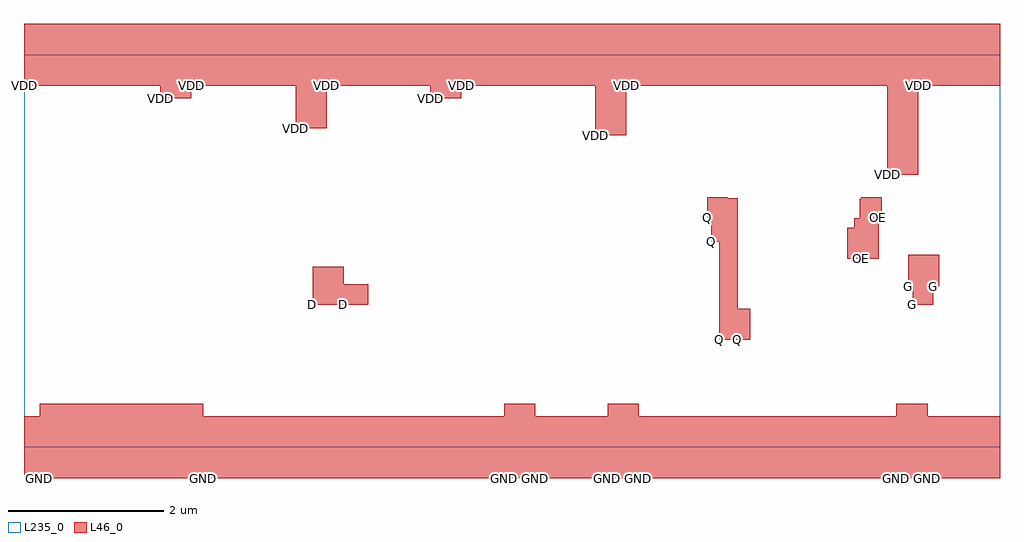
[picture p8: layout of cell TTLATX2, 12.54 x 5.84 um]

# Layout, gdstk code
import gdstk
lib = gdstk.Library(unit=1e-6, precision=1e-09)
def R(c, l, rs):  # rectangles x0, y0, x1, y1
    for r in rs: c.add(gdstk.rectangle(r[:2], r[2:], *l))
L46_0 = (46, 0)
L235_0 = (235, 0)

ttlatx2 = lib.new_cell('TTLATX2')
R(ttlatx2, L46_0, [(0,-0.4,0.2,0.4), (0.2,-0.4,2.3,0.56), (2.3,-0.4,6.17,0.4), (6.17,-0.4,6.57,0.56), (6.57,-0.4,7.5,0.4), (7.5,-0.4,7.9,0.56), (7.9,-0.4,11.21,0.4), (11.21,-0.4,11.61,0.56), (11.61,-0.4,12.54,0.4), (8.93,1.38,9.04,3.21), (9.04,1.38,9.17,3.2), (9.17,1.38,9.33,1.78), (3.71,1.83,4.11,2.32), (4.11,1.83,4.42,2.09), (11.42,1.83,11.68,2.47), (11.36,2.07,11.42,2.47), (11.68,2.07,11.76,2.47), (10.58,2.42,10.67,2.82), (10.67,2.42,10.74,2.94), (10.74,2.42,10.76,3.19), (10.76,2.42,10.98,3.21), (8.83,2.64,8.93,3.21), (8.78,2.95,8.83,3.21), (10.98,2.95,11.02,3.21), (11.09,3.5,11.49,5.44), (7.34,4.01,7.74,5.44), (3.49,4.1,3.89,5.44), (1.75,4.48,2.15,5.44), (5.22,4.48,5.62,5.44), (0,4.64,1.75,5.44), (2.15,4.64,3.49,5.44), (3.89,4.64,5.22,5.44), (5.62,4.64,7.34,5.44), (7.74,4.64,11.09,5.44), (11.49,4.64,12.54,5.44)])
R(ttlatx2, L235_0, [(0,0,12.54,5.04)])
ttlatx2.add(gdstk.Label('Q', (9.17,1.38), layer=101, texttype=0))
ttlatx2.add(gdstk.Label('Q', (9.04,1.38), layer=101, texttype=0))
ttlatx2.add(gdstk.Label('Q', (8.93,1.38), layer=101, texttype=0))
ttlatx2.add(gdstk.Label('Q', (8.83,2.64), layer=101, texttype=0))
ttlatx2.add(gdstk.Label('Q', (8.78,2.95), layer=101, texttype=0))
ttlatx2.add(gdstk.Label('OE', (10.98,2.95), layer=101, texttype=0))
ttlatx2.add(gdstk.Label('OE', (10.76,2.42), layer=101, texttype=0))
ttlatx2.add(gdstk.Label('OE', (10.74,2.42), layer=101, texttype=0))
ttlatx2.add(gdstk.Label('OE', (10.67,2.42), layer=101, texttype=0))
ttlatx2.add(gdstk.Label('OE', (10.58,2.42), layer=101, texttype=0))
ttlatx2.add(gdstk.Label('G', (11.68,2.07), layer=101, texttype=0))
ttlatx2.add(gdstk.Label('G', (11.42,1.83), layer=101, texttype=0))
ttlatx2.add(gdstk.Label('G', (11.36,2.07), layer=101, texttype=0))
ttlatx2.add(gdstk.Label('D', (4.11,1.83), layer=101, texttype=0))
ttlatx2.add(gdstk.Label('D', (3.71,1.83), layer=101, texttype=0))
ttlatx2.add(gdstk.Label('VDD', (11.49,4.64), layer=101, texttype=0))
ttlatx2.add(gdstk.Label('VDD', (11.09,3.5), layer=101, texttype=0))
ttlatx2.add(gdstk.Label('VDD', (7.74,4.64), layer=101, texttype=0))
ttlatx2.add(gdstk.Label('VDD', (7.34,4.01), layer=101, texttype=0))
ttlatx2.add(gdstk.Label('VDD', (5.62,4.64), layer=101, texttype=0))
ttlatx2.add(gdstk.Label('VDD', (5.22,4.48), layer=101, texttype=0))
ttlatx2.add(gdstk.Label('VDD', (3.89,4.64), layer=101, texttype=0))
ttlatx2.add(gdstk.Label('VDD', (3.49,4.1), layer=101, texttype=0))
ttlatx2.add(gdstk.Label('VDD', (2.15,4.64), layer=101, texttype=0))
ttlatx2.add(gdstk.Label('VDD', (1.75,4.48), layer=101, texttype=0))
ttlatx2.add(gdstk.Label('VDD', (0,4.64), layer=101, texttype=0))
ttlatx2.add(gdstk.Label('GND', (11.61,-0.4), layer=101, texttype=0))
ttlatx2.add(gdstk.Label('GND', (11.21,-0.4), layer=101, texttype=0))
ttlatx2.add(gdstk.Label('GND', (7.9,-0.4), layer=101, texttype=0))
ttlatx2.add(gdstk.Label('GND', (7.5,-0.4), layer=101, texttype=0))
ttlatx2.add(gdstk.Label('GND', (6.57,-0.4), layer=101, texttype=0))
ttlatx2.add(gdstk.Label('GND', (6.17,-0.4), layer=101, texttype=0))
ttlatx2.add(gdstk.Label('GND', (2.3,-0.4), layer=101, texttype=0))
ttlatx2.add(gdstk.Label('GND', (0.2,-0.4), layer=101, texttype=0))
ttlatx2.add(gdstk.Label('GND', (0,-0.4), layer=101, texttype=0))

lib.write_gds('TTLATX2.gds')
